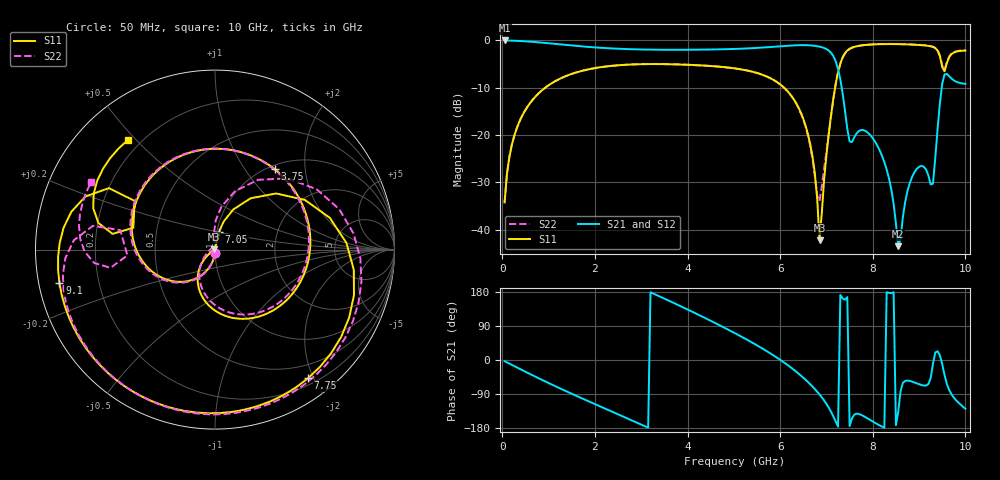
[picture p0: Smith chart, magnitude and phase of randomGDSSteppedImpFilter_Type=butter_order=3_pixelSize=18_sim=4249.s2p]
! freq	dB(S11)	phase(S11)	dB(S12)	phase(S12)
!  dB(S21)	phase(S21)	dB(S22)	phase(S22)
!S-par simulation data
#  GHz  S  DB  R 50
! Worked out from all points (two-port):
!   200 points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, 50 MHz to 10 GHz, reference 50 ohm
!   highest |S21| = -0.01 dB at 50 MHz (marker M1); lowest = -43.5 dB at 8.55 GHz (marker M2)
!   |S21| within 3 dB of the highest: start of sweep to 7.127 GHz
!   lowest |S11| = -42.2 dB at 6.85 GHz (marker M3), VSWR 1.02, Z = 49.3 + j0.175 ohm
!   |S11| at or under -10 dB: start of sweep to 927.9 MHz; 6.085 GHz to 7.186 GHz (1.101 GHz wide, 16.6 % of centre)
!   |S22| runs from -34.3 to -0.7 dB; largest |S21 - S12| = 0
!   S11 on the Smith chart (normalised r, x): 50 MHz: 1.00, -0.04; 3.75 GHz: 1.07, +1.39; 7.05 GHz: 1.03, +0.21; 7.75 GHz: 0.29, -1.92; 9.1 GHz: 0.06, -0.11; 10 GHz: 0.15, +0.47
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0.05  -34.26 -93.0  -0.01 -3.2  -0.01 -3.2  -34.27 -92.9
0.2  -22.35 -102.9  -0.05 -12.6  -0.05 -12.6  -22.35 -102.6
0.5  -14.70 -121.9  -0.19 -31.0  -0.19 -31.0  -14.70 -121.0
1.75  -6.36 164.9  -1.29 -102.8  -1.29 -102.8  -6.36 168.3
3.4  -5.00 73.5  -1.98 167.6  -1.98 167.6  -5.00 81.2
3.75  -5.07 53.4  -1.99 147.8  -1.99 147.8  -5.06 62.0
5.05  -5.96 -24.8  -1.79 69.0  -1.79 69.0  -5.95 -14.9
6.05  -9.69 -92.9  -1.21 -3.6  -1.21 -3.6  -9.71 -85.6
6.7  -24.64 -141.2  -1.09 -70.2  -1.09 -70.2  -25.22 -152.5
6.85  -42.23 166.7  -1.32 -90.8  -1.32 -90.8  -33.97 125.8
7.05  -19.75 77.0  -2.16 -125.9  -2.16 -125.9  -19.52 92.0
7.3  -4.85 29.0  -8.29 171.7  -8.29 171.7  -4.95 44.6
7.5  -1.78 -18.2  -21.38 -174.5  -21.38 -174.5  -1.82 -3.4
7.75  -1.07 -54.2  -18.94 -144.7  -18.94 -144.7  -1.07 -40.2
8.35  -0.77 -108.6  -29.18 177.2  -29.18 177.2  -0.74 -94.8
8.55  -0.79 -124.0  -43.51 -136.5  -43.51 -136.5  -0.75 -109.9
8.8  -0.87 -143.2  -30.13 -55.3  -30.13 -55.3  -0.82 -128.4
9.1  -1.05 -167.9  -26.70 -67.5  -26.70 -67.5  -0.99 -151.7
9.3  -1.39 171.8  -30.32 -9.7  -30.32 -9.7  -1.32 -170.7
9.45  -3.31 149.9  -13.25 11.9  -13.25 11.9  -3.18 169.0
9.55  -6.54 165.0  -7.19 -39.8  -7.19 -39.8  -6.21 -176.2
10  -2.16 128.5  -9.18 -128.7  -9.18 -128.7  -2.08 151.3
